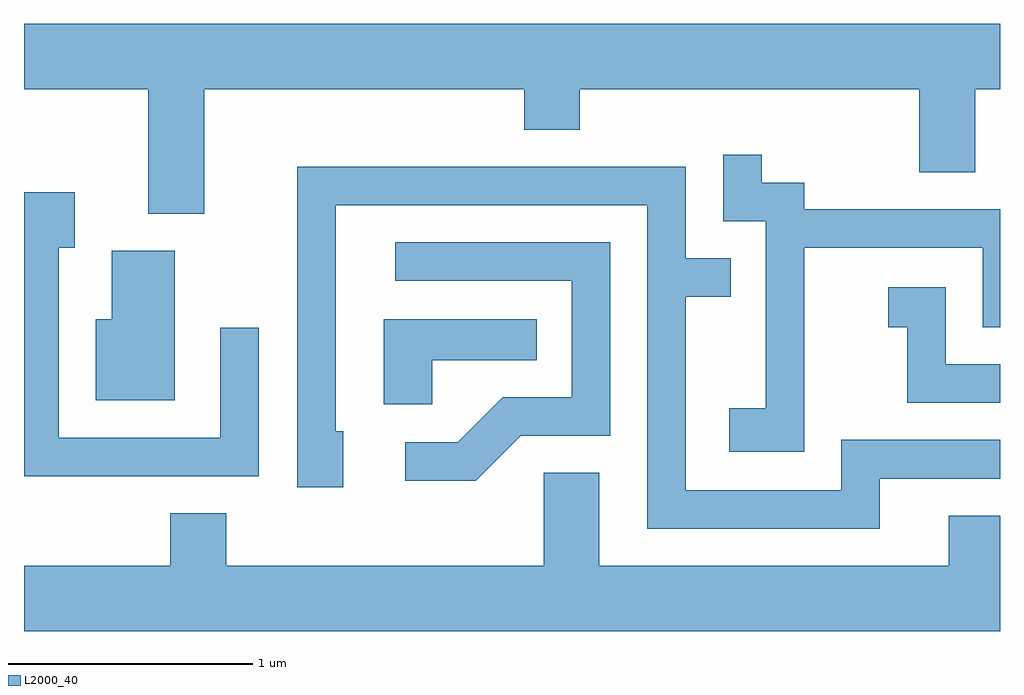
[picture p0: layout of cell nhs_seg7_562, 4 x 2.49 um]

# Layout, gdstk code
import gdstk
lib = gdstk.Library(unit=1e-6, precision=1e-09)
def P(c, l, *ps):  # polygons
    for p in ps: c.add(gdstk.Polygon(p, *l))
L2000_40 = (2000, 40)

nhs_seg7_562 = lib.new_cell('nhs_seg7_562')
P(nhs_seg7_562, L2000_40, [(202.349,1723.196),(203.661,1723.196),(203.661,1723.031),(203.889,1723.031),(203.889,1723.196),(205.281,1723.196),(205.281,1722.856),(205.509,1722.856),(205.509,1723.196),(205.611,1723.196),(205.611,1723.464),(201.611,1723.464),(201.611,1723.196),(202.121,1723.196),(202.121,1722.686),(202.349,1722.686)],
  [(204.809,1722.546),(205.541,1722.546),(205.541,1722.221),(205.611,1722.221),(205.611,1722.704),(204.809,1722.704),(204.809,1722.814),(204.634,1722.814),(204.634,1722.928),(204.476,1722.928),(204.476,1722.656),(204.651,1722.656),(204.651,1721.889),(204.501,1721.889),(204.501,1721.711),(204.809,1721.711)],
  [(205.119,1721.601),(205.611,1721.601),(205.611,1721.759),(204.961,1721.759),(204.961,1721.554),(204.324,1721.554),(204.324,1722.346),(204.508,1722.346),(204.508,1722.504),(204.324,1722.504),(204.324,1722.879),(202.731,1722.879),(202.731,1721.566),(202.919,1721.566),(202.919,1721.794),(202.889,1721.794),(202.889,1722.721),(204.166,1722.721),(204.166,1721.396),(205.119,1721.396)],
  [(202.574,1722.218),(202.416,1722.218),(202.416,1721.769),(201.754,1721.769),(201.754,1722.546),(201.819,1722.546),(201.819,1722.774),(201.611,1722.774),(201.611,1721.611),(202.574,1721.611)],
  [(203.647,1721.776),(204.014,1721.776),(204.014,1722.569),(203.133,1722.569),(203.133,1722.411),(203.856,1722.411),(203.856,1721.934),(203.574,1721.934),(203.389,1721.749),(203.173,1721.749),(203.173,1721.591),(203.462,1721.591)],
  [(202.229,1722.534),(201.971,1722.534),(201.971,1722.254),(201.906,1722.254),(201.906,1721.921),(202.229,1721.921)],
  [(205.611,1722.069),(205.389,1722.069),(205.389,1722.384),(205.153,1722.384),(205.153,1722.221),(205.231,1722.221),(205.231,1721.911),(205.611,1721.911)],
  [(203.284,1722.086),(203.713,1722.086),(203.713,1722.254),(203.086,1722.254),(203.086,1721.906),(203.284,1721.906)],
  [(205.611,1721.449),(205.401,1721.449),(205.401,1721.244),(203.969,1721.244),(203.969,1721.624),(203.741,1721.624),(203.741,1721.244),(202.439,1721.244),(202.439,1721.459),(202.211,1721.459),(202.211,1721.244),(201.611,1721.244),(201.611,1720.976),(205.611,1720.976)])

lib.write_gds('nhs_seg7_562.gds')
